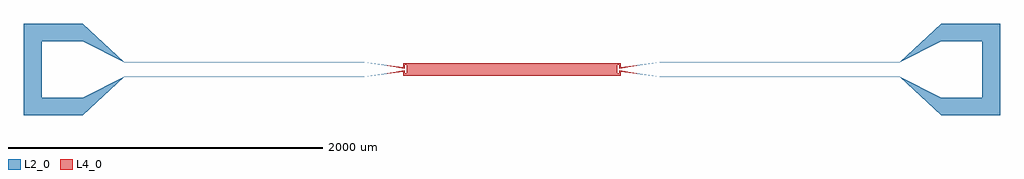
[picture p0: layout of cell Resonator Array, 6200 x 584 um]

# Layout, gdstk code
import gdstk
lib = gdstk.Library(unit=1e-6, precision=1e-09)
def P(c, l, *ps):  # polygons
    for p in ps: c.add(gdstk.Polygon(p, *l))
L2_0 = (2, 0)
L4_0 = (4, 0)

resonator_array = lib.new_cell('Resonator Array')
P(resonator_array, L2_0, [(1431,51.306),(1431,47.259),(1581,69.9),(3104.5,69.9),(3366.75,204.9),(3629,204.9),(3629,-155.1),(3366.75,-155.1),(3104.5,-20.1),(1581,-20.1),(1431,2.541),(1431,-1.506),(1581,-21.6),(3104.5,-21.6),(3366.75,-267.1),(3741,-267.1),(3741,316.9),(3366.75,316.9),(3104.5,71.4),(1581,71.4)],
  [(-2459,316.9),(-2459,-267.1),(-2084.75,-267.1),(-1822.5,-21.6),(-299,-21.6),(-149,-1.506),(-149,2.541),(-299,-20.1),(-1822.5,-20.1),(-2084.75,-155.1),(-2347,-155.1),(-2347,204.9),(-2084.75,204.9),(-1822.5,69.9),(-299,69.9),(-149,47.259),(-149,51.306),(-299,71.4),(-1822.5,71.4),(-2084.75,316.9)])
P(resonator_array, L4_0, [(359.5,64.8),(336.25,64.8),(336.25,55.65),(327.1,55.65),(327.1,51.15),(345.4,51.15),(345.4,45.65),(327.1,45.65),(327.1,41.15),(345.4,41.15),(345.4,35.65),(327.1,35.65),(327.1,31.15),(345.4,31.15),(345.4,25.65),(327.1,25.65),(327.1,21.15),(345.4,21.15),(345.4,15.65),(327.1,15.65),(327.1,11.15),(336.25,11.15),(336.25,2),(353,2),(353,56.15),(355,56.15),(355,0),(317,0),(317,56.15),(319,56.15),(319,2),(335.75,2),(335.75,10.65),(326.6,10.65),(326.6,16.15),(344.9,16.15),(344.9,20.65),(326.6,20.65),(326.6,26.15),(344.9,26.15),(344.9,30.65),(326.6,30.65),(326.6,36.15),(344.9,36.15),(344.9,40.65),(326.6,40.65),(326.6,46.15),(344.9,46.15),(344.9,50.65),(326.6,50.65),(326.6,56.15),(335.75,56.15),(335.75,64.8),(306.5,64.8),(306.5,-15),(359.5,-15)],
  [(79.5,64.8),(50.25,64.8),(50.25,55.65),(41.1,55.65),(41.1,51.15),(59.4,51.15),(59.4,45.65),(41.1,45.65),(41.1,41.15),(59.4,41.15),(59.4,35.65),(41.1,35.65),(41.1,31.15),(59.4,31.15),(59.4,25.65),(41.1,25.65),(41.1,21.15),(59.4,21.15),(59.4,15.65),(41.1,15.65),(41.1,11.15),(50.25,11.15),(50.25,2),(67,2),(67,56.15),(69,56.15),(69,0),(31,0),(31,56.15),(33,56.15),(33,2),(49.75,2),(49.75,10.65),(40.6,10.65),(40.6,16.15),(58.9,16.15),(58.9,20.65),(40.6,20.65),(40.6,26.15),(58.9,26.15),(58.9,30.65),(40.6,30.65),(40.6,36.15),(58.9,36.15),(58.9,40.65),(40.6,40.65),(40.6,46.15),(58.9,46.15),(58.9,50.65),(40.6,50.65),(40.6,56.15),(49.75,56.15),(49.75,64.8),(26.5,64.8),(26.5,-15),(79.5,-15)],
  [(191.5,64.8),(162.25,64.8),(162.25,55.65),(153.1,55.65),(153.1,51.15),(171.4,51.15),(171.4,45.65),(153.1,45.65),(153.1,41.15),(171.4,41.15),(171.4,35.65),(153.1,35.65),(153.1,31.15),(171.4,31.15),(171.4,25.65),(153.1,25.65),(153.1,21.15),(171.4,21.15),(171.4,15.65),(153.1,15.65),(153.1,11.15),(162.25,11.15),(162.25,2),(179,2),(179,56.15),(181,56.15),(181,0),(143,0),(143,56.15),(145,56.15),(145,2),(161.75,2),(161.75,10.65),(152.6,10.65),(152.6,16.15),(170.9,16.15),(170.9,20.65),(152.6,20.65),(152.6,26.15),(170.9,26.15),(170.9,30.65),(152.6,30.65),(152.6,36.15),(170.9,36.15),(170.9,40.65),(152.6,40.65),(152.6,46.15),(170.9,46.15),(170.9,50.65),(152.6,50.65),(152.6,56.15),(161.75,56.15),(161.75,64.8),(138.5,64.8),(138.5,-15),(191.5,-15)],
  [(135.5,64.8),(112.25,64.8),(112.25,55.65),(103.1,55.65),(103.1,51.15),(121.4,51.15),(121.4,45.65),(103.1,45.65),(103.1,41.15),(121.4,41.15),(121.4,35.65),(103.1,35.65),(103.1,31.15),(121.4,31.15),(121.4,25.65),(103.1,25.65),(103.1,21.15),(121.4,21.15),(121.4,15.65),(103.1,15.65),(103.1,11.15),(112.25,11.15),(112.25,2),(129,2),(129,56.15),(131,56.15),(131,0),(93,0),(93,56.15),(95,56.15),(95,2),(111.75,2),(111.75,10.65),(102.6,10.65),(102.6,16.15),(120.9,16.15),(120.9,20.65),(102.6,20.65),(102.6,26.15),(120.9,26.15),(120.9,30.65),(102.6,30.65),(102.6,36.15),(120.9,36.15),(120.9,40.65),(102.6,40.65),(102.6,46.15),(120.9,46.15),(120.9,50.65),(102.6,50.65),(102.6,56.15),(111.75,56.15),(111.75,64.8),(82.5,64.8),(82.5,-15),(135.5,-15)],
  [(863.5,64.8),(834.25,64.8),(834.25,55.65),(825.1,55.65),(825.1,51.15),(843.4,51.15),(843.4,45.65),(825.1,45.65),(825.1,41.15),(843.4,41.15),(843.4,35.65),(825.1,35.65),(825.1,31.15),(843.4,31.15),(843.4,25.65),(825.1,25.65),(825.1,21.15),(843.4,21.15),(843.4,15.65),(825.1,15.65),(825.1,11.15),(834.25,11.15),(834.25,2),(851,2),(851,56.15),(853,56.15),(853,0),(815,0),(815,56.15),(817,56.15),(817,2),(833.75,2),(833.75,10.65),(824.6,10.65),(824.6,16.15),(842.9,16.15),(842.9,20.65),(824.6,20.65),(824.6,26.15),(842.9,26.15),(842.9,30.65),(824.6,30.65),(824.6,36.15),(842.9,36.15),(842.9,40.65),(824.6,40.65),(824.6,46.15),(842.9,46.15),(842.9,50.65),(824.6,50.65),(824.6,56.15),(833.75,56.15),(833.75,64.8),(810.5,64.8),(810.5,-15),(863.5,-15)],
  [(919.5,64.8),(896.25,64.8),(896.25,55.65),(887.1,55.65),(887.1,51.15),(905.4,51.15),(905.4,45.65),(887.1,45.65),(887.1,41.15),(905.4,41.15),(905.4,35.65),(887.1,35.65),(887.1,31.15),(905.4,31.15),(905.4,25.65),(887.1,25.65),(887.1,21.15),(905.4,21.15),(905.4,15.65),(887.1,15.65),(887.1,11.15),(896.25,11.15),(896.25,2),(913,2),(913,56.15),(915,56.15),(915,0),(877,0),(877,56.15),(879,56.15),(879,2),(895.75,2),(895.75,10.65),(886.6,10.65),(886.6,16.15),(904.9,16.15),(904.9,20.65),(886.6,20.65),(886.6,26.15),(904.9,26.15),(904.9,30.65),(886.6,30.65),(886.6,36.15),(904.9,36.15),(904.9,40.65),(886.6,40.65),(886.6,46.15),(904.9,46.15),(904.9,50.65),(886.6,50.65),(886.6,56.15),(895.75,56.15),(895.75,64.8),(866.5,64.8),(866.5,-15),(919.5,-15)],
  [(415.5,64.8),(386.25,64.8),(386.25,55.65),(377.1,55.65),(377.1,51.15),(395.4,51.15),(395.4,45.65),(377.1,45.65),(377.1,41.15),(395.4,41.15),(395.4,35.65),(377.1,35.65),(377.1,31.15),(395.4,31.15),(395.4,25.65),(377.1,25.65),(377.1,21.15),(395.4,21.15),(395.4,15.65),(377.1,15.65),(377.1,11.15),(386.25,11.15),(386.25,2),(403,2),(403,56.15),(405,56.15),(405,0),(367,0),(367,56.15),(369,56.15),(369,2),(385.75,2),(385.75,10.65),(376.6,10.65),(376.6,16.15),(394.9,16.15),(394.9,20.65),(376.6,20.65),(376.6,26.15),(394.9,26.15),(394.9,30.65),(376.6,30.65),(376.6,36.15),(394.9,36.15),(394.9,40.65),(376.6,40.65),(376.6,46.15),(394.9,46.15),(394.9,50.65),(376.6,50.65),(376.6,56.15),(385.75,56.15),(385.75,64.8),(362.5,64.8),(362.5,-15),(415.5,-15)],
  [(975.5,64.8),(946.25,64.8),(946.25,55.65),(937.1,55.65),(937.1,51.15),(955.4,51.15),(955.4,45.65),(937.1,45.65),(937.1,41.15),(955.4,41.15),(955.4,35.65),(937.1,35.65),(937.1,31.15),(955.4,31.15),(955.4,25.65),(937.1,25.65),(937.1,21.15),(955.4,21.15),(955.4,15.65),(937.1,15.65),(937.1,11.15),(946.25,11.15),(946.25,2),(963,2),(963,56.15),(965,56.15),(965,0),(927,0),(927,56.15),(929,56.15),(929,2),(945.75,2),(945.75,10.65),(936.6,10.65),(936.6,16.15),(954.9,16.15),(954.9,20.65),(936.6,20.65),(936.6,26.15),(954.9,26.15),(954.9,30.65),(936.6,30.65),(936.6,36.15),(954.9,36.15),(954.9,40.65),(936.6,40.65),(936.6,46.15),(954.9,46.15),(954.9,50.65),(936.6,50.65),(936.6,56.15),(945.75,56.15),(945.75,64.8),(922.5,64.8),(922.5,-15),(975.5,-15)],
  [(471.5,64.8),(448.25,64.8),(448.25,55.65),(439.1,55.65),(439.1,51.15),(457.4,51.15),(457.4,45.65),(439.1,45.65),(439.1,41.15),(457.4,41.15),(457.4,35.65),(439.1,35.65),(439.1,31.15),(457.4,31.15),(457.4,25.65),(439.1,25.65),(439.1,21.15),(457.4,21.15),(457.4,15.65),(439.1,15.65),(439.1,11.15),(448.25,11.15),(448.25,2),(465,2),(465,56.15),(467,56.15),(467,0),(429,0),(429,56.15),(431,56.15),(431,2),(447.75,2),(447.75,10.65),(438.6,10.65),(438.6,16.15),(456.9,16.15),(456.9,20.65),(438.6,20.65),(438.6,26.15),(456.9,26.15),(456.9,30.65),(438.6,30.65),(438.6,36.15),(456.9,36.15),(456.9,40.65),(438.6,40.65),(438.6,46.15),(456.9,46.15),(456.9,50.65),(438.6,50.65),(438.6,56.15),(447.75,56.15),(447.75,64.8),(418.5,64.8),(418.5,-15),(471.5,-15)],
  [(527.5,64.8),(498.25,64.8),(498.25,55.65),(489.1,55.65),(489.1,51.15),(507.4,51.15),(507.4,45.65),(489.1,45.65),(489.1,41.15),(507.4,41.15),(507.4,35.65),(489.1,35.65),(489.1,31.15),(507.4,31.15),(507.4,25.65),(489.1,25.65),(489.1,21.15),(507.4,21.15),(507.4,15.65),(489.1,15.65),(489.1,11.15),(498.25,11.15),(498.25,2),(515,2),(515,56.15),(517,56.15),(517,0),(479,0),(479,56.15),(481,56.15),(481,2),(497.75,2),(497.75,10.65),(488.6,10.65),(488.6,16.15),(506.9,16.15),(506.9,20.65),(488.6,20.65),(488.6,26.15),(506.9,26.15),(506.9,30.65),(488.6,30.65),(488.6,36.15),(506.9,36.15),(506.9,40.65),(488.6,40.65),(488.6,46.15),(506.9,46.15),(506.9,50.65),(488.6,50.65),(488.6,56.15),(497.75,56.15),(497.75,64.8),(474.5,64.8),(474.5,-15),(527.5,-15)],
  [(1031.5,64.8),(1008.25,64.8),(1008.25,55.65),(999.1,55.65),(999.1,51.15),(1017.4,51.15),(1017.4,45.65),(999.1,45.65),(999.1,41.15),(1017.4,41.15),(1017.4,35.65),(999.1,35.65),(999.1,31.15),(1017.4,31.15),(1017.4,25.65),(999.1,25.65),(999.1,21.15),(1017.4,21.15),(1017.4,15.65),(999.1,15.65),(999.1,11.15),(1008.25,11.15),(1008.25,2),(1025,2),(1025,56.15),(1027,56.15),(1027,0),(989,0),(989,56.15),(991,56.15),(991,2),(1007.75,2),(1007.75,10.65),(998.6,10.65),(998.6,16.15),(1016.9,16.15),(1016.9,20.65),(998.6,20.65),(998.6,26.15),(1016.9,26.15),(1016.9,30.65),(998.6,30.65),(998.6,36.15),(1016.9,36.15),(1016.9,40.65),(998.6,40.65),(998.6,46.15),(1016.9,46.15),(1016.9,50.65),(998.6,50.65),(998.6,56.15),(1007.75,56.15),(1007.75,64.8),(978.5,64.8),(978.5,-15),(1031.5,-15)],
  [(583.5,64.8),(560.25,64.8),(560.25,55.65),(551.1,55.65),(551.1,51.15),(569.4,51.15),(569.4,45.65),(551.1,45.65),(551.1,41.15),(569.4,41.15),(569.4,35.65),(551.1,35.65),(551.1,31.15),(569.4,31.15),(569.4,25.65),(551.1,25.65),(551.1,21.15),(569.4,21.15),(569.4,15.65),(551.1,15.65),(551.1,11.15),(560.25,11.15),(560.25,2),(577,2),(577,56.15),(579,56.15),(579,0),(541,0),(541,56.15),(543,56.15),(543,2),(559.75,2),(559.75,10.65),(550.6,10.65),(550.6,16.15),(568.9,16.15),(568.9,20.65),(550.6,20.65),(550.6,26.15),(568.9,26.15),(568.9,30.65),(550.6,30.65),(550.6,36.15),(568.9,36.15),(568.9,40.65),(550.6,40.65),(550.6,46.15),(568.9,46.15),(568.9,50.65),(550.6,50.65),(550.6,56.15),(559.75,56.15),(559.75,64.8),(530.5,64.8),(530.5,-15),(583.5,-15)],
  [(1087.5,64.8),(1058.25,64.8),(1058.25,55.65),(1049.1,55.65),(1049.1,51.15),(1067.4,51.15),(1067.4,45.65),(1049.1,45.65),(1049.1,41.15),(1067.4,41.15),(1067.4,35.65),(1049.1,35.65),(1049.1,31.15),(1067.4,31.15),(1067.4,25.65),(1049.1,25.65),(1049.1,21.15),(1067.4,21.15),(1067.4,15.65),(1049.1,15.65),(1049.1,11.15),(1058.25,11.15),(1058.25,2),(1075,2),(1075,56.15),(1077,56.15),(1077,0),(1039,0),(1039,56.15),(1041,56.15),(1041,2),(1057.75,2),(1057.75,10.65),(1048.6,10.65),(1048.6,16.15),(1066.9,16.15),(1066.9,20.65),(1048.6,20.65),(1048.6,26.15),(1066.9,26.15),(1066.9,30.65),(1048.6,30.65),(1048.6,36.15),(1066.9,36.15),(1066.9,40.65),(1048.6,40.65),(1048.6,46.15),(1066.9,46.15),(1066.9,50.65),(1048.6,50.65),(1048.6,56.15),(1057.75,56.15),(1057.75,64.8),(1034.5,64.8),(1034.5,-15),(1087.5,-15)],
  [(639.5,64.8),(610.25,64.8),(610.25,55.65),(601.1,55.65),(601.1,51.15),(619.4,51.15),(619.4,45.65),(601.1,45.65),(601.1,41.15),(619.4,41.15),(619.4,35.65),(601.1,35.65),(601.1,31.15),(619.4,31.15),(619.4,25.65),(601.1,25.65),(601.1,21.15),(619.4,21.15),(619.4,15.65),(601.1,15.65),(601.1,11.15),(610.25,11.15),(610.25,2),(627,2),(627,56.15),(629,56.15),(629,0),(591,0),(591,56.15),(593,56.15),(593,2),(609.75,2),(609.75,10.65),(600.6,10.65),(600.6,16.15),(618.9,16.15),(618.9,20.65),(600.6,20.65),(600.6,26.15),(618.9,26.15),(618.9,30.65),(600.6,30.65),(600.6,36.15),(618.9,36.15),(618.9,40.65),(600.6,40.65),(600.6,46.15),(618.9,46.15),(618.9,50.65),(600.6,50.65),(600.6,56.15),(609.75,56.15),(609.75,64.8),(586.5,64.8),(586.5,-15),(639.5,-15)],
  [(247.5,64.8),(224.25,64.8),(224.25,55.65),(215.1,55.65),(215.1,51.15),(233.4,51.15),(233.4,45.65),(215.1,45.65),(215.1,41.15),(233.4,41.15),(233.4,35.65),(215.1,35.65),(215.1,31.15),(233.4,31.15),(233.4,25.65),(215.1,25.65),(215.1,21.15),(233.4,21.15),(233.4,15.65),(215.1,15.65),(215.1,11.15),(224.25,11.15),(224.25,2),(241,2),(241,56.15),(243,56.15),(243,0),(205,0),(205,56.15),(207,56.15),(207,2),(223.75,2),(223.75,10.65),(214.6,10.65),(214.6,16.15),(232.9,16.15),(232.9,20.65),(214.6,20.65),(214.6,26.15),(232.9,26.15),(232.9,30.65),(214.6,30.65),(214.6,36.15),(232.9,36.15),(232.9,40.65),(214.6,40.65),(214.6,46.15),(232.9,46.15),(232.9,50.65),(214.6,50.65),(214.6,56.15),(223.75,56.15),(223.75,64.8),(194.5,64.8),(194.5,-15),(247.5,-15)],
  [(695.5,64.8),(672.25,64.8),(672.25,55.65),(663.1,55.65),(663.1,51.15),(681.4,51.15),(681.4,45.65),(663.1,45.65),(663.1,41.15),(681.4,41.15),(681.4,35.65),(663.1,35.65),(663.1,31.15),(681.4,31.15),(681.4,25.65),(663.1,25.65),(663.1,21.15),(681.4,21.15),(681.4,15.65),(663.1,15.65),(663.1,11.15),(672.25,11.15),(672.25,2),(689,2),(689,56.15),(691,56.15),(691,0),(653,0),(653,56.15),(655,56.15),(655,2),(671.75,2),(671.75,10.65),(662.6,10.65),(662.6,16.15),(680.9,16.15),(680.9,20.65),(662.6,20.65),(662.6,26.15),(680.9,26.15),(680.9,30.65),(662.6,30.65),(662.6,36.15),(680.9,36.15),(680.9,40.65),(662.6,40.65),(662.6,46.15),(680.9,46.15),(680.9,50.65),(662.6,50.65),(662.6,56.15),(671.75,56.15),(671.75,64.8),(642.5,64.8),(642.5,-15),(695.5,-15)],
  [(1143.5,64.8),(1120.25,64.8),(1120.25,55.65),(1111.1,55.65),(1111.1,51.15),(1129.4,51.15),(1129.4,45.65),(1111.1,45.65),(1111.1,41.15),(1129.4,41.15),(1129.4,35.65),(1111.1,35.65),(1111.1,31.15),(1129.4,31.15),(1129.4,25.65),(1111.1,25.65),(1111.1,21.15),(1129.4,21.15),(1129.4,15.65),(1111.1,15.65),(1111.1,11.15),(1120.25,11.15),(1120.25,2),(1137,2),(1137,56.15),(1139,56.15),(1139,0),(1101,0),(1101,56.15),(1103,56.15),(1103,2),(1119.75,2),(1119.75,10.65),(1110.6,10.65),(1110.6,16.15),(1128.9,16.15),(1128.9,20.65),(1110.6,20.65),(1110.6,26.15),(1128.9,26.15),(1128.9,30.65),(1110.6,30.65),(1110.6,36.15),(1128.9,36.15),(1128.9,40.65),(1110.6,40.65),(1110.6,46.15),(1128.9,46.15),(1128.9,50.65),(1110.6,50.65),(1110.6,56.15),(1119.75,56.15),(1119.75,64.8),(1090.5,64.8),(1090.5,-15),(1143.5,-15)],
  [(751.5,64.8),(722.25,64.8),(722.25,55.65),(713.1,55.65),(713.1,51.15),(731.4,51.15),(731.4,45.65),(713.1,45.65),(713.1,41.15),(731.4,41.15),(731.4,35.65),(713.1,35.65),(713.1,31.15),(731.4,31.15),(731.4,25.65),(713.1,25.65),(713.1,21.15),(731.4,21.15),(731.4,15.65),(713.1,15.65),(713.1,11.15),(722.25,11.15),(722.25,2),(739,2),(739,56.15),(741,56.15),(741,0),(703,0),(703,56.15),(705,56.15),(705,2),(721.75,2),(721.75,10.65),(712.6,10.65),(712.6,16.15),(730.9,16.15),(730.9,20.65),(712.6,20.65),(712.6,26.15),(730.9,26.15),(730.9,30.65),(712.6,30.65),(712.6,36.15),(730.9,36.15),(730.9,40.65),(712.6,40.65),(712.6,46.15),(730.9,46.15),(730.9,50.65),(712.6,50.65),(712.6,56.15),(721.75,56.15),(721.75,64.8),(698.5,64.8),(698.5,-15),(751.5,-15)],
  [(1199.5,64.8),(1170.25,64.8),(1170.25,55.65),(1161.1,55.65),(1161.1,51.15),(1179.4,51.15),(1179.4,45.65),(1161.1,45.65),(1161.1,41.15),(1179.4,41.15),(1179.4,35.65),(1161.1,35.65),(1161.1,31.15),(1179.4,31.15),(1179.4,25.65),(1161.1,25.65),(1161.1,21.15),(1179.4,21.15),(1179.4,15.65),(1161.1,15.65),(1161.1,11.15),(1170.25,11.15),(1170.25,2),(1187,2),(1187,56.15),(1189,56.15),(1189,0),(1151,0),(1151,56.15),(1153,56.15),(1153,2),(1169.75,2),(1169.75,10.65),(1160.6,10.65),(1160.6,16.15),(1178.9,16.15),(1178.9,20.65),(1160.6,20.65),(1160.6,26.15),(1178.9,26.15),(1178.9,30.65),(1160.6,30.65),(1160.6,36.15),(1178.9,36.15),(1178.9,40.65),(1160.6,40.65),(1160.6,46.15),(1178.9,46.15),(1178.9,50.65),(1160.6,50.65),(1160.6,56.15),(1169.75,56.15),(1169.75,64.8),(1146.5,64.8),(1146.5,-15),(1199.5,-15)],
  [(23.5,64.8),(0.25,64.8),(0.25,55.65),(-8.9,55.65),(-8.9,51.15),(9.4,51.15),(9.4,45.65),(-8.9,45.65),(-8.9,41.15),(9.4,41.15),(9.4,35.65),(-8.9,35.65),(-8.9,31.15),(9.4,31.15),(9.4,25.65),(-8.9,25.65),(-8.9,21.15),(9.4,21.15),(9.4,15.65),(-8.9,15.65),(-8.9,11.15),(0.25,11.15),(0.25,2),(17,2),(17,56.15),(19,56.15),(19,0),(-19,0),(-19,56.15),(-17,56.15),(-17,2),(-0.25,2),(-0.25,10.65),(-9.4,10.65),(-9.4,16.15),(8.9,16.15),(8.9,20.65),(-9.4,20.65),(-9.4,26.15),(8.9,26.15),(8.9,30.65),(-9.4,30.65),(-9.4,36.15),(8.9,36.15),(8.9,40.65),(-9.4,40.65),(-9.4,46.15),(8.9,46.15),(8.9,50.65),(-9.4,50.65),(-9.4,56.15),(-0.25,56.15),(-0.25,64.8),(-49,64.8),(-49,37.91),(-150,51.44),(-150,47.41),(-39,30.655),(-39,56.15),(-29,56.15),(-29,0),(-39,0),(-39,19.145),(-150,2.39),(-150,-1.64),(-49,11.89),(-49,-15),(23.5,-15)],
  [(303.5,64.8),(274.25,64.8),(274.25,55.65),(265.1,55.65),(265.1,51.15),(283.4,51.15),(283.4,45.65),(265.1,45.65),(265.1,41.15),(283.4,41.15),(283.4,35.65),(265.1,35.65),(265.1,31.15),(283.4,31.15),(283.4,25.65),(265.1,25.65),(265.1,21.15),(283.4,21.15),(283.4,15.65),(265.1,15.65),(265.1,11.15),(274.25,11.15),(274.25,2),(291,2),(291,56.15),(293,56.15),(293,0),(255,0),(255,56.15),(257,56.15),(257,2),(273.75,2),(273.75,10.65),(264.6,10.65),(264.6,16.15),(282.9,16.15),(282.9,20.65),(264.6,20.65),(264.6,26.15),(282.9,26.15),(282.9,30.65),(264.6,30.65),(264.6,36.15),(282.9,36.15),(282.9,40.65),(264.6,40.65),(264.6,46.15),(282.9,46.15),(282.9,50.65),(264.6,50.65),(264.6,56.15),(273.75,56.15),(273.75,64.8),(250.5,64.8),(250.5,-15),(303.5,-15)],
  [(1255.5,64.8),(1232.25,64.8),(1232.25,55.65),(1223.1,55.65),(1223.1,51.15),(1241.4,51.15),(1241.4,45.65),(1223.1,45.65),(1223.1,41.15),(1241.4,41.15),(1241.4,35.65),(1223.1,35.65),(1223.1,31.15),(1241.4,31.15),(1241.4,25.65),(1223.1,25.65),(1223.1,21.15),(1241.4,21.15),(1241.4,15.65),(1223.1,15.65),(1223.1,11.15),(1232.25,11.15),(1232.25,2),(1249,2),(1249,56.15),(1251,56.15),(1251,0),(1213,0),(1213,56.15),(1215,56.15),(1215,2),(1231.75,2),(1231.75,10.65),(1222.6,10.65),(1222.6,16.15),(1240.9,16.15),(1240.9,20.65),(1222.6,20.65),(1222.6,26.15),(1240.9,26.15),(1240.9,30.65),(1222.6,30.65),(1222.6,36.15),(1240.9,36.15),(1240.9,40.65),(1222.6,40.65),(1222.6,46.15),(1240.9,46.15),(1240.9,50.65),(1222.6,50.65),(1222.6,56.15),(1231.75,56.15),(1231.75,64.8),(1202.5,64.8),(1202.5,-15),(1255.5,-15)],
  [(807.5,64.8),(784.25,64.8),(784.25,55.65),(775.1,55.65),(775.1,51.15),(793.4,51.15),(793.4,45.65),(775.1,45.65),(775.1,41.15),(793.4,41.15),(793.4,35.65),(775.1,35.65),(775.1,31.15),(793.4,31.15),(793.4,25.65),(775.1,25.65),(775.1,21.15),(793.4,21.15),(793.4,15.65),(775.1,15.65),(775.1,11.15),(784.25,11.15),(784.25,2),(801,2),(801,56.15),(803,56.15),(803,0),(765,0),(765,56.15),(767,56.15),(767,2),(783.75,2),(783.75,10.65),(774.6,10.65),(774.6,16.15),(792.9,16.15),(792.9,20.65),(774.6,20.65),(774.6,26.15),(792.9,26.15),(792.9,30.65),(774.6,30.65),(774.6,36.15),(792.9,36.15),(792.9,40.65),(774.6,40.65),(774.6,46.15),(792.9,46.15),(792.9,50.65),(774.6,50.65),(774.6,56.15),(783.75,56.15),(783.75,64.8),(754.5,64.8),(754.5,-15),(807.5,-15)],
  [(1331,11.89),(1432,-1.64),(1432,2.39),(1321,19.145),(1321,0),(1311,0),(1311,56.15),(1321,56.15),(1321,30.655),(1432,47.41),(1432,51.44),(1331,37.91),(1331,64.8),(1282.25,64.8),(1282.25,55.65),(1273.1,55.65),(1273.1,51.15),(1291.4,51.15),(1291.4,45.65),(1273.1,45.65),(1273.1,41.15),(1291.4,41.15),(1291.4,35.65),(1273.1,35.65),(1273.1,31.15),(1291.4,31.15),(1291.4,25.65),(1273.1,25.65),(1273.1,21.15),(1291.4,21.15),(1291.4,15.65),(1273.1,15.65),(1273.1,11.15),(1282.25,11.15),(1282.25,2),(1299,2),(1299,56.15),(1301,56.15),(1301,0),(1263,0),(1263,56.15),(1265,56.15),(1265,2),(1281.75,2),(1281.75,10.65),(1272.6,10.65),(1272.6,16.15),(1290.9,16.15),(1290.9,20.65),(1272.6,20.65),(1272.6,26.15),(1290.9,26.15),(1290.9,30.65),(1272.6,30.65),(1272.6,36.15),(1290.9,36.15),(1290.9,40.65),(1272.6,40.65),(1272.6,46.15),(1290.9,46.15),(1290.9,50.65),(1272.6,50.65),(1272.6,56.15),(1281.75,56.15),(1281.75,64.8),(1258.5,64.8),(1258.5,-15),(1331,-15)])

lib.write_gds('Resonator_Array.gds')
